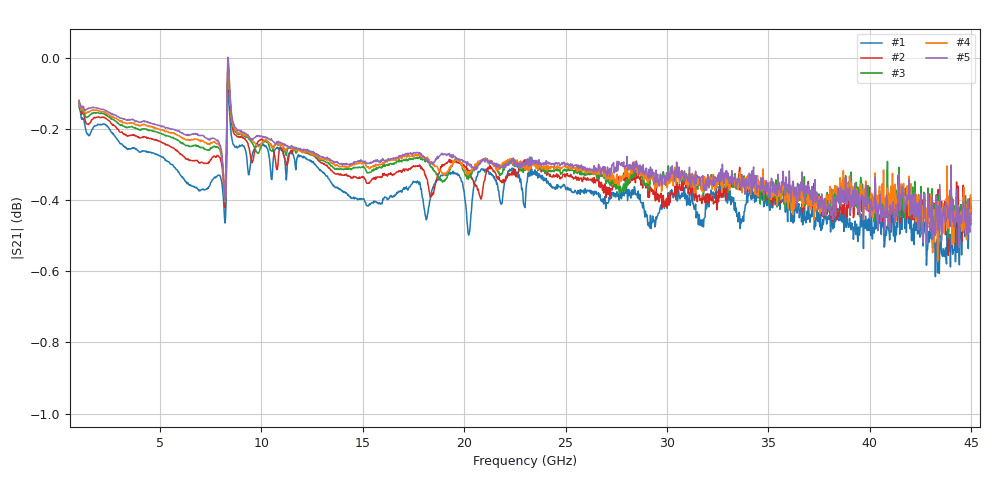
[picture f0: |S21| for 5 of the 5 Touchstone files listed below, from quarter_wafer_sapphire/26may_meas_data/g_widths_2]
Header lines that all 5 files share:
!Keysight Technologies,N5247B,MY61255062,A.19.80.06
!Correction: S11(C  2-Port  )
!S21(C  2-Port  )
!S12(C  2-Port  )
!S22(C  2-Port  )
!S2P File: Measurements: S11, S21, S12, S22:
# Hz S  dB  R 50
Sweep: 1 GHz to 45 GHz
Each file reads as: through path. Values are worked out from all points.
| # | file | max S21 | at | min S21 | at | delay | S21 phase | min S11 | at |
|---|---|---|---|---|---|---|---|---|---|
| 1 | 1g.s2p | -0.09 dB | 8.342 GHz | -0.6 dB | 43.24 GHz | 38.5 ps | 42 deg at 23 GHz | -39.6 dB | 1.413 GHz |
| 2 | 2g.s2p | -0.04 dB | 8.342 GHz | -0.6 dB | 43.87 GHz | 38.5 ps | 42 deg at 23 GHz | -38.1 dB | 1.413 GHz |
| 3 | 3g.s2p | -0.02 dB | 8.342 GHz | -0.5 dB | 43.1 GHz | 38.5 ps | 41 deg at 23 GHz | -37.0 dB | 1.33 GHz |
| 4 | 4g.s2p | -0.01 dB | 8.342 GHz | -0.6 dB | 43.35 GHz | 38.5 ps | 42 deg at 23 GHz | -42.6 dB | 34.8 GHz |
| 5 | 5g.s2p | 0.00 dB | 8.342 GHz | -0.5 dB | 44.42 GHz | 38.4 ps | 43 deg at 23 GHz | -46.4 dB | 43.76 GHz |
